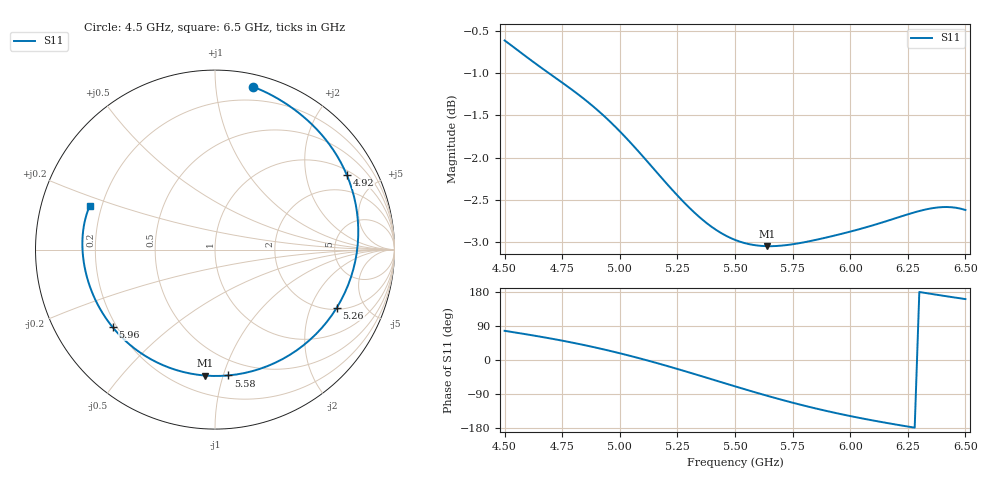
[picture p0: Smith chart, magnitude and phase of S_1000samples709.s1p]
! TOUCHSTONE file generated by CST MICROWAVE STUDIO
! Date and time: Sat Oct 29 02:46:56 2022
! Project name: L.cst
! Parameters = {Di=1.27; Epsilon_r=1.56; InnerDiameter=1.27; Length=2; Lf=10; Lg=60; OuterConductorThickness=0.2921; OuterDiameter=3.6; Wf=3; Wp=41.2; de=1.5; df=6.8; g=0.8; gx=4.24949; gy=1.13318; h=2.34; hf=1.524; px=12.105; py=8.9243; w=9.7; wx=7.85548; wy=7.79112}
! Header version: 2018
! Port assignment regex: !\s*Touchstone port\s*([0-9]+)\s*=\s*(CST MWS port|CST DS port)\s*([0-9]+|Zmin|Zmax)\s*\(\"(.*)\"\)(\s*mode\s*([0-9]+))?.*
! Touchstone port assignment:
! Touchstone port 1 = CST MWS port 1 ("")
# GHz S DB R 50
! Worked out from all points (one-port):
!   101 points, 4.5 GHz to 6.5 GHz, reference 50 ohm
!   lowest |S11| = -3.0 dB at 5.64 GHz (marker M1), VSWR 5.75, Z = 15.7 - j43.8 ohm
!   |S11| at or under -10 dB: nowhere
!   S11 on the Smith chart (normalised r, x): 4.5 GHz: 0.09, +1.25; 4.92 GHz: 1.19, +3.43; 5.26 GHz: 2.09, -3.11; 5.58 GHz: 0.37, -1.04; 5.96 GHz: 0.18, -0.33; 6.5 GHz: 0.15, +0.17
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4.5  -0.61 77.0
4.58  -0.77 69.2
4.64  -0.90 63.1
4.7  -1.01 56.7
4.76  -1.13 49.9
4.84  -1.29 40.1
4.92  -1.48 29.4
5  -1.69 17.8
5.08  -1.92 5.3
5.14  -2.11 -4.6
5.2  -2.30 -14.8
5.26  -2.48 -25.5
5.32  -2.64 -36.3
5.38  -2.78 -47.4
5.44  -2.89 -58.4
5.5  -2.98 -69.5
5.58  -3.04 -83.9
5.64  -3.05 -94.4
5.7  -3.04 -104.5
5.76  -3.02 -114.2
5.86  -2.97 -129.2
5.96  -2.91 -142.8
6  -2.88 -147.9
6.12  -2.78 -161.9
6.18  -2.73 -168.4
6.26  -2.66 -176.6
6.38  -2.59 171.8
6.5  -2.62 160.8
